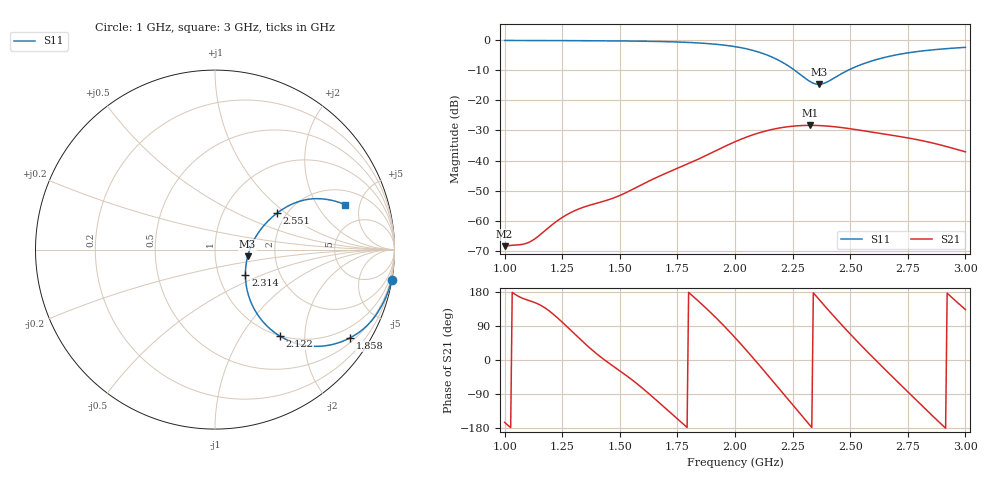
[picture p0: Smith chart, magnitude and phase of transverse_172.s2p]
! TOUCHSTONE file generated by CST MICROWAVE STUDIO
! Date and time: Tue Mar 11 13:57:21 2025
! Project name: transverse.cst
! Parameters = {Fracture=5; B=10; D=160; F=25; Feed=2.85625; L=100; M=10; R=0.384908; S=2; Theta=180; length=57.125; wave=114.25}
! Header version: 2024
! Port assignment regex: !\s*Touchstone port\s*([0-9]+)\s*=\s*(CST MWS port|CST DES external port|CST DES block port)\s*(.+)\s* \(\"(.*)\"\)(\s*mode\s*([0-9]+))?.*
! Touchstone port assignment:
! Touchstone port 1 = CST MWS port 1 ("")
! Touchstone port 2 = CST MWS port 2 ("")
# GHz S MA R 50
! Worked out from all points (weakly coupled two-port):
!   304 points, 1 GHz to 3 GHz, reference 50 ohm
!   highest |S21| = -28.29 dB at 2.327 GHz (marker M1); lowest = -68.5 dB at 1 GHz (marker M2)
!   lowest |S11| = -14.6 dB at 2.366 GHz (marker M3), VSWR 1.46, Z = 72 - j5.67 ohm
!   |S11| at or under -10 dB: 2.26 GHz to 2.489 GHz (229.2 MHz wide, 9.65 % of centre)
!   S12 and S22 are empty: the file has one direction only
!   S11 on the Smith chart (normalised r, x): 1 GHz: 0, -12; 1.858 GHz: 0.63, -3.24; 2.122 GHz: 0.99, -1.51; 2.314 GHz: 1.34, -0.40; 2.551 GHz: 1.79, +0.86; 3 GHz: 2.98, +3.61
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1  0.9978 -9.7  0.0003749 -164.4  0 0.0  0 0.0
1.07921  0.9966 -10.8  0.0004034 162.6  0 0.0  0 0.0
1.11221  0.996 -11.3  0.0004473 155.6  0 0.0  0 0.0
1.24422  0.9927 -13.4  0.00109 103.1  0 0.0  0 0.0
1.33663  0.989 -15.1  0.001641 49.9  0 0.0  0 0.0
1.48845  0.9802 -18.5  0.002508 -23.6  0 0.0  0 0.0
1.66667  0.9601 -24.0  0.005381 -110.4  0 0.0  0 0.0
1.85809  0.8984 -33.2  0.01133 146.0  0 0.0  0 0.0
2.0033  0.7836 -43.5  0.0208 57.0  0 0.0  0 0.0
2.06271  0.7047 -48.4  0.02559 16.5  0 0.0  0 0.0
2.12211  0.6037 -53.1  0.03023 -25.5  0 0.0  0 0.0
2.21452  0.4131 -56.7  0.03589 -92.4  0 0.0  0 0.0
2.31353  0.2217 -40.2  0.03846 -163.9  0 0.0  0 0.0
2.32673  0.2056 -34.3  0.03849 -173.3  0 0.0  0 0.0
2.33993  0.1939 -27.4  0.03846 177.3  0 0.0  0 0.0
2.36634  0.1858 -11.8  0.03818 158.7  0 0.0  0 0.0
2.39934  0.2026 5.8  0.0375 135.8  0 0.0  0 0.0
2.45215  0.2648 22.1  0.03579 100.0  0 0.0  0 0.0
2.55116  0.4005 30.5  0.03158 36.1  0 0.0  0 0.0
2.66997  0.5432 29.7  0.02674 -36.2  0 0.0  0 0.0
2.83498  0.6825 24.2  0.0205 -134.3  0 0.0  0 0.0
3  0.7662 19.1  0.01395 133.1  0 0.0  0 0.0
